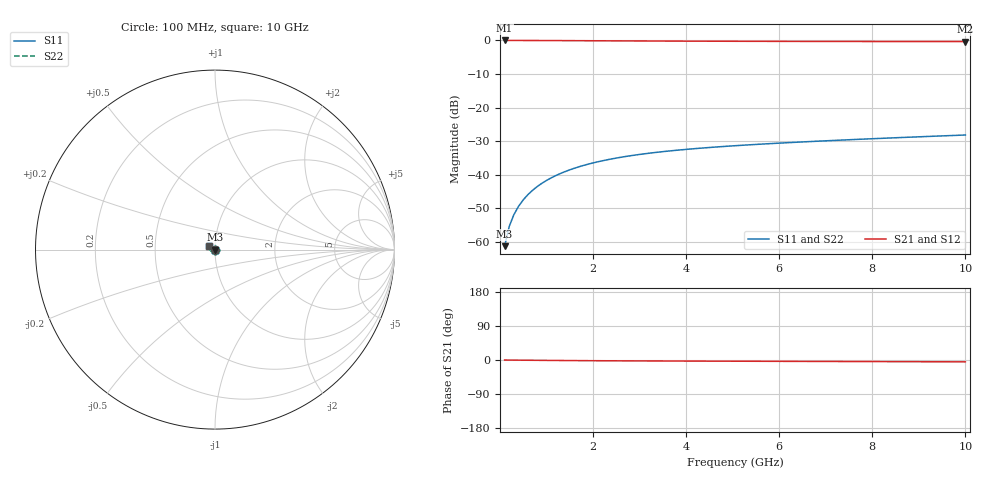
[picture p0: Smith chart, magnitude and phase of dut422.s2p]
! Touchstone file exported from HFSS 2024.1.0
!  File:  C:/UserFiles/LocalFiles/RDL_TSV_Batchsim/temp_TSV1_422_1779693420.aedt
!  Generated:  03:22:45 PM May 25, 2026
!  Design:  TSV1
!  Project:  temp_TSV1_422_1779693420
!  Setup:  Setup1
!  Solution:  Sweep
! Variables:
!  dtsv = 8.5um
!  hbump = 3um
!  htsv = 71.13um
!  lrdl = 252.1521522um
!  p = 40
!  p1 = 58.03um
!  t = 500um
!  trdl = 3um
!  wrdl = 24.89489489um
# GHz S MA R 50.000000
! Terminal data exported
! Port[1] = TSV22_T1
! Port[2] = TSV22_T2
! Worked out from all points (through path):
!   100 points, 100 MHz to 10 GHz, reference 50 ohm
!   highest |S21| = 0.00 dB at 100 MHz (marker M1); lowest = -0.3 dB at 10 GHz (marker M2)
!   lowest |S11| = -61.3 dB at 100 MHz (marker M3), VSWR 1.00, Z = 50 - j0.0849 ohm
!   |S11| at or under -10 dB: start of sweep to end of sweep
!   |S22| runs from -61.3 to -28.2 dB; largest |S21 - S12| = 9.8e-15
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0.1  0.0008622 -79.8  0.9998 -0.1  0.9998 -0.1  0.0008622 -79.8
! Gamma 0 0 0 0
! Port Impedance 50 0 50 0
0.2  0.001704 -88.0  0.9997 -0.2  0.9997 -0.2  0.001704 -88.0
0.3  0.002548 -92.4  0.9995 -0.3  0.9995 -0.3  0.002548 -92.4
0.4  0.003387 -95.7  0.9992 -0.4  0.9992 -0.4  0.003387 -95.7
0.5  0.00422 -98.5  0.9989 -0.5  0.9989 -0.5  0.00422 -98.5
0.6  0.005043 -101.2  0.9986 -0.6  0.9986 -0.6  0.005043 -101.2
0.7  0.005855 -103.7  0.9982 -0.7  0.9982 -0.7  0.005855 -103.7
0.8  0.006655 -106.1  0.9977 -0.8  0.9977 -0.8  0.006655 -106.1
0.9  0.007442 -108.4  0.9972 -0.9  0.9972 -0.9  0.007442 -108.4
1.1  0.00897 -112.9  0.996 -1.1  0.996 -1.1  0.00897 -112.9
1.4  0.01114 -119.2  0.9941 -1.4  0.9941 -1.4  0.01114 -119.2
1.6  0.01249 -123.3  0.9926 -1.6  0.9926 -1.6  0.01249 -123.3
1.8  0.01378 -127.1  0.9911 -1.7  0.9911 -1.7  0.01378 -127.1
2.1  0.01556 -132.7  0.9889 -1.9  0.9889 -1.9  0.01556 -132.7
2.5  0.0177 -139.6  0.9859 -2.1  0.9859 -2.1  0.0177 -139.5
2.9  0.0196 -145.9  0.9831 -2.4  0.9831 -2.4  0.0196 -145.9
3.4  0.02168 -153.1  0.9799 -2.6  0.9799 -2.6  0.02168 -153.1
4.2  0.02449 -163.2  0.9756 -2.9  0.9756 -2.9  0.02449 -163.2
5.1  0.02717 -172.9  0.9718 -3.2  0.9718 -3.2  0.02717 -172.9
6.7  0.03127 173.0  0.9671 -3.8  0.9671 -3.8  0.03127 173.0
8.4  0.03529 161.3  0.9639 -4.3  0.9639 -4.3  0.03529 161.3
10  0.03903 152.4  0.9618 -4.9  0.9618 -4.9  0.03903 152.4
